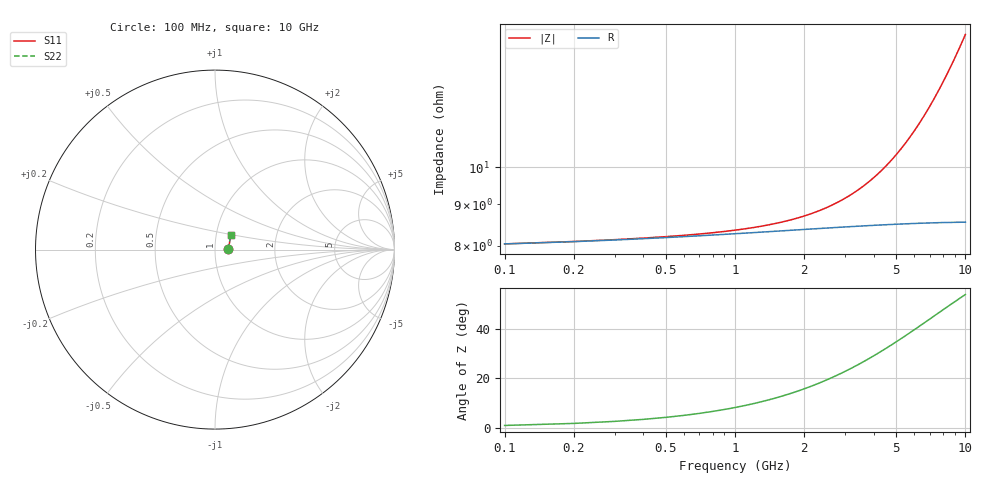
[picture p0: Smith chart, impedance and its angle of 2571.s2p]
# Hz S RI R 50.00
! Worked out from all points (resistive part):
!   100 points, 100 MHz to 10 GHz, reference 50 ohm
!   read as one part in series: R = 8.04 ohm at 100 MHz
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1e8  0.0744 0.00083  0.9256 -0.0012  0.9256 -0.0012  0.0744 0.00083
2e8  0.0749 0.00166  0.9251 -0.00239  0.9251 -0.00239  0.0749 0.00166
3e8  0.0752 0.00248  0.9248 -0.00358  0.9248 -0.00358  0.0752 0.00248
4e8  0.0755 0.00331  0.9245 -0.00478  0.9245 -0.00478  0.0755 0.00331
5e8  0.0757 0.00414  0.9243 -0.00597  0.9243 -0.00597  0.0757 0.00414
7e8  0.0761 0.00578  0.9239 -0.00835  0.9239 -0.00835  0.0761 0.00578
1.4e9  0.0771 0.0115  0.9229 -0.0167  0.9229 -0.0167  0.0771 0.0115
1.8e9  0.0775 0.0148  0.9224 -0.0214  0.9224 -0.0214  0.0775 0.0148
2.2e9  0.078 0.0181  0.922 -0.0262  0.922 -0.0262  0.078 0.0181
2.6e9  0.0784 0.0214  0.9216 -0.0309  0.9216 -0.0309  0.0784 0.0214
3e9  0.0788 0.0246  0.9211 -0.0356  0.9211 -0.0356  0.0788 0.0246
3.4e9  0.0792 0.0279  0.9207 -0.0404  0.9207 -0.0404  0.0792 0.0279
3.8e9  0.0797 0.0312  0.9202 -0.0451  0.9202 -0.0451  0.0797 0.0312
4.2e9  0.0801 0.0344  0.9197 -0.0498  0.9197 -0.0498  0.0801 0.0344
4.6e9  0.0806 0.0377  0.9192 -0.0545  0.9192 -0.0545  0.0806 0.0377
5.1e9  0.0812 0.0417  0.9186 -0.0604  0.9186 -0.0604  0.0812 0.0417
5.8e9  0.0822 0.0474  0.9176 -0.0686  0.9176 -0.0686  0.0822 0.0474
6.2e9  0.0827 0.0506  0.917 -0.0733  0.917 -0.0733  0.0827 0.0506
6.7e9  0.0835 0.0546  0.9162 -0.0792  0.9162 -0.0792  0.0835 0.0546
8.4e9  0.0864 0.0682  0.9131 -0.099  0.9131 -0.099  0.0864 0.0682
9.3e9  0.0881 0.0754  0.9113 -0.1094  0.9113 -0.1094  0.0881 0.0754
1e10  0.0896 0.0809  0.9097 -0.1175  0.9097 -0.1175  0.0896 0.0809
